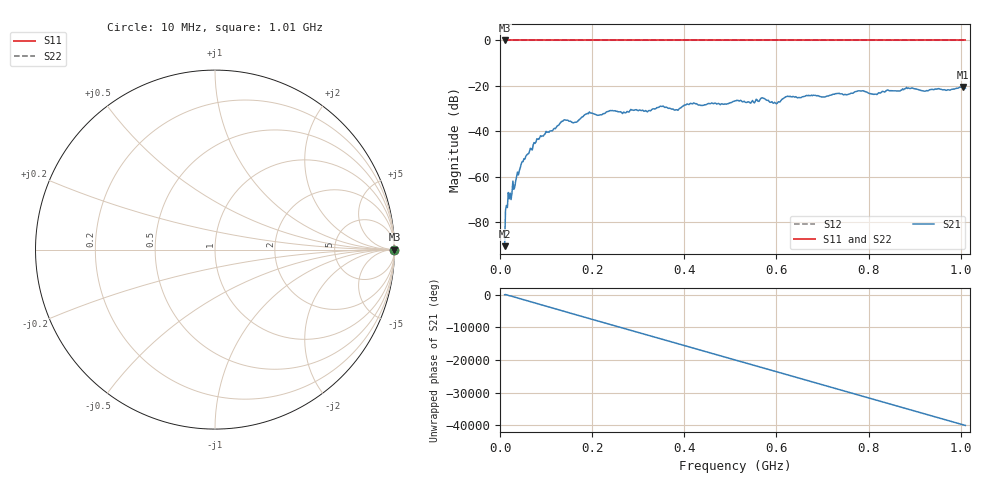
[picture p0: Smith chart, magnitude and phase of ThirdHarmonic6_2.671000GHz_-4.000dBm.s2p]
! 8/17/2025 6:12:56 AM
! C:\ANRITSUVNA\TEMP\TEMP.S2P
! CHANNEL.1
! TR.MEASUREMENT
! RAW.DATA
! RF.CORRECTION.OFF
! AVERAGING.OFF
! IF.BANDWIDTH: 5KHZ
! SWEEPTYPE:  FREQ.SWEEP(Linear)
! Reference Plane Port Info
! PORT:  PORT1  PORT2
! DISTANCE:  0  m  0  m
! TIME:  0  s  0  s
! PHASE.OFFSET:  0  deg.  0  deg.
! LOSS:  0  dB  0  dB
! REF.LOSS:  0  dB  0  dB
! REF.FREQ:  0  Hz  0  Hz
! Power Info
! POWER:  -20  dBm  -20  dBm
! EFF.POWER:  -20  dBm  -20  dBm
! SOURCE.ATTEN:  0  dB  0  dB
! TEST.ATTEN:  0  dB  0  dB
# GHZ S RI R 50.0
! FREQ.GHZ  S11RE  S11IM  S21RE  S21IM  S12RE  S12IM  S22RE  S22IM
!; PortSelection: Port_12
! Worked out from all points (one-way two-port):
!   501 points, 10 MHz to 1.01 GHz, reference 50 ohm
!   highest |S21| = -20.53 dB at 1.004 GHz (marker M1); lowest = -90.6 dB at 10 MHz (marker M2)
!   lowest |S11| = 0.0 dB at 10 MHz (marker M3)
!   |S11| at or under -10 dB: nowhere
!   |S22| runs from 0.0 to 0.0 dB; largest |S21 - S12| = 1.1
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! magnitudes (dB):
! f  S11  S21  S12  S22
! 10 MHz  0.0  -90.6  0.0  0.0
! 18 MHz  0.0  -67.0  0.0  0.0
! 48 MHz  0.0  -53.4  0.0  0.0
! 78 MHz  0.0  -44.7  0.0  0.0
! 136 MHz  0.0  -35.6  0.0  0.0
! 162 MHz  0.0  -36.1  0.0  0.0
! 178 MHz  0.0  -33.7  0.0  0.0
! 194 MHz  0.0  -31.5  0.0  0.0
! 322 MHz  0.0  -31.0  0.0  0.0
! 344 MHz  0.0  -29.5  0.0  0.0
! 382 MHz  0.0  -30.5  0.0  0.0
! 410 MHz  0.0  -28.2  0.0  0.0
! 510 MHz  0.0  -26.6  0.0  0.0
! 570 MHz  0.0  -25.3  0.0  0.0
! 598 MHz  0.0  -27.6  0.0  0.0
! 622 MHz  0.0  -24.7  0.0  0.0
! 678 MHz  0.0  -24.3  0.0  0.0
! 782 MHz  0.0  -22.3  0.0  0.0
! 814 MHz  0.0  -23.6  0.0  0.0
! 844 MHz  0.0  -22.1  0.0  0.0
! 1.004 GHz  0.0  -20.5  0.0  0.0
! 1.01 GHz  0.0  -21.1  0.0  0.0
